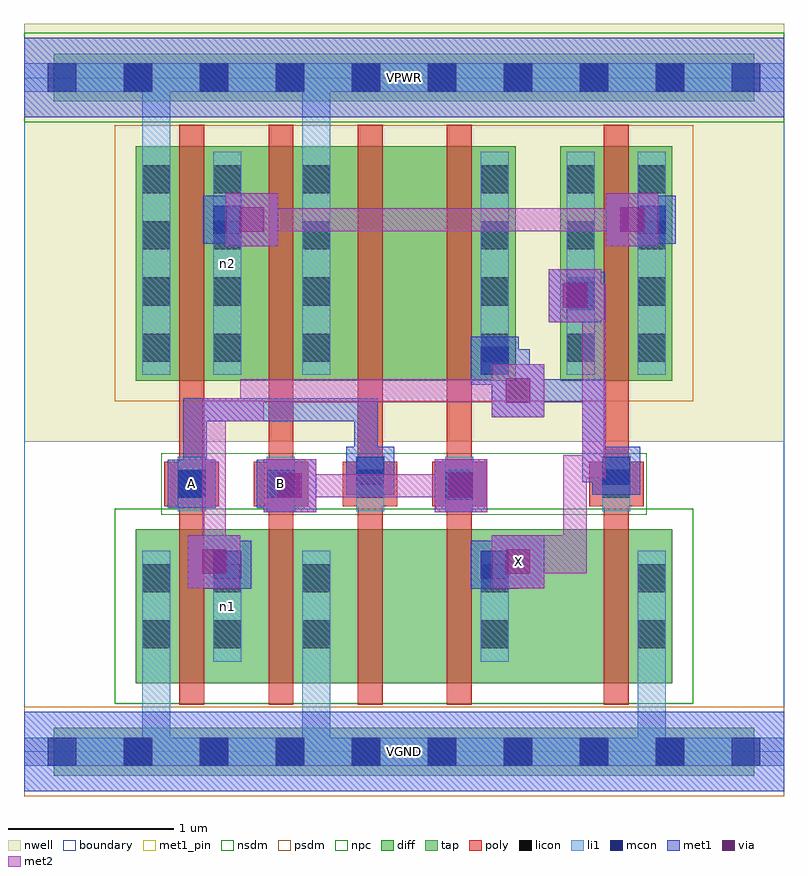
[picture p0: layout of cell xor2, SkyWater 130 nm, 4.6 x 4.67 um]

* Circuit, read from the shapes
.subckt xor2 A B VGND VPWR X n1 n2
XM1 n1 A VGND VGND sky130_fd_pr__nfet_01v8 w=0.93 l=0.15
XM2 VGND B n1 VGND sky130_fd_pr__nfet_01v8 w=0.93 l=0.15
XM3 n3 A VGND VGND sky130_fd_pr__nfet_01v8 w=0.93 l=0.15
XM4 X B n3 VGND sky130_fd_pr__nfet_01v8 w=0.93 l=0.15
XM5 VGND n1 X VGND sky130_fd_pr__nfet_01v8 w=0.93 l=0.15
XM6 n2 A VPWR VPWR sky130_fd_pr__pfet_01v8 w=1.42 l=0.15
XM7 VPWR B n2 VPWR sky130_fd_pr__pfet_01v8 w=1.42 l=0.15
XM8 n4 A VPWR VPWR sky130_fd_pr__pfet_01v8 w=1.42 l=0.15
XM9 n1 B n4 VPWR sky130_fd_pr__pfet_01v8 w=1.42 l=0.15
XM10 n2 n1 X VPWR sky130_fd_pr__pfet_01v8 w=1.42 l=0.15
.ends

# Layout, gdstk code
import gdstk
lib = gdstk.Library(unit=1e-6, precision=1e-09)
def R(c, l, rs):  # rectangles x0, y0, x1, y1
    for r in rs: c.add(gdstk.rectangle(r[:2], r[2:], *l))
def A(c, l, x, y, w, h, nx, ny, dx, dy):  # array of equal rectangles
    R(c, l, [(x+i*dx, y+j*dy, x+i*dx+w, y+j*dy+h) for i in range(nx) for j in range(ny)])
nwell = (64, 20)
diff = (65, 20)
tap = (65, 44)
poly = (66, 20)
licon = (66, 44)
li1 = (67, 20)
mcon = (67, 44)
met1_pin = (68, 16)
met1 = (68, 20)
via = (68, 44)
met2 = (69, 20)
nsdm = (93, 44)
psdm = (94, 20)
npc = (95, 20)
boundary = (235, 4)

xor2 = lib.new_cell('xor2')
R(xor2, nwell, [(0,1.875,4.6,4.405)])
R(xor2, diff, [(0.675,0.415,3.925,1.345), (0.675,2.245,2.975,3.665), (3.245,2.245,3.925,3.665)])
R(xor2, tap, [(0.18,-0.145,4.42,0.145), (0.18,3.935,4.42,4.225)])
A(xor2, poly, 0.94, 0.285, 0.15, 3.51, 4, 1, 0.54, 0)
A(xor2, poly, 0.85, 1.485, 0.33, 0.27, 4, 1, 0.54, 0)
R(xor2, poly, [(3.51,0.285,3.66,3.795), (3.42,1.485,3.75,1.755)])
A(xor2, licon, 0.605, -0.085, 0.17, 0.17, 8, 2, 0.46, 4.08)
A(xor2, licon, 0.93, 1.535, 0.17, 0.17, 4, 1, 0.54, 0)
A(xor2, licon, 0.715, 2.36, 0.17, 0.17, 1, 4, 0, 0.34)
A(xor2, licon, 1.145, 2.36, 0.17, 0.17, 1, 4, 0, 0.34)
A(xor2, licon, 1.685, 2.36, 0.17, 0.17, 1, 4, 0, 0.34)
A(xor2, licon, 2.765, 2.36, 0.17, 0.17, 1, 4, 0, 0.34)
A(xor2, licon, 3.285, 2.36, 0.17, 0.17, 1, 4, 0, 0.34)
A(xor2, licon, 3.715, 2.36, 0.17, 0.17, 1, 4, 0, 0.34)
R(xor2, licon, [(0.715,0.625,0.885,0.795), (1.145,0.625,1.315,0.795), (1.685,0.625,1.855,0.795), (2.765,0.625,2.935,0.795), (3.715,0.625,3.885,0.795), (0.715,0.965,0.885,1.135), (1.145,0.965,1.315,1.135), (1.685,0.965,1.855,1.135), (2.765,0.965,2.935,1.135), (3.715,0.965,3.885,1.135), (3.5,1.535,3.67,1.705)])
A(xor2, li1, 0.93, 1.455, 0.17, 0.33, 4, 1, 0.54, 0)
R(xor2, li1, [(0,-0.085,4.6,0.085), (0.715,-0.085,0.885,1.215), (1.685,-0.085,1.855,1.215), (3.715,-0.085,3.885,1.215), (0.715,0.545,0.885,1.215), (1.145,0.545,1.315,1.215), (1.685,0.545,1.855,1.215), (2.765,0.545,2.935,1.215), (3.715,0.545,3.885,1.215), (3.5,1.455,3.67,1.785), (0.715,2.28,0.885,3.63), (0.715,2.28,0.885,4.165), (1.145,2.28,1.315,3.63), (1.685,2.28,1.855,3.63), (1.685,2.28,1.855,4.165), (2.765,2.28,2.935,3.63), (3.285,2.28,3.455,3.63), (3.715,2.28,3.885,3.63), (0,3.995,4.6,4.165)])
A(xor2, mcon, 0.145, -0.085, 0.17, 0.17, 10, 2, 0.46, 4.08)
R(xor2, mcon, [(1.145,1.045,1.315,1.215), (2.765,1.045,2.935,1.215), (2.55,1.525,2.72,1.695), (0.93,1.535,1.1,1.705), (1.47,1.535,1.64,1.705), (2.01,1.615,2.18,1.785), (3.5,1.615,3.67,1.785), (2.765,2.28,2.935,2.45), (3.285,2.675,3.455,2.845), (1.145,3.135,1.315,3.305), (3.715,3.135,3.885,3.305)])
R(xor2, met1_pin, [(0,-0.24,4.6,0.24), (2.83,0.99,3.15,1.31), (0.87,1.475,1.16,1.765), (1.41,1.475,1.7,1.765), (0,3.84,4.6,4.32)])
R(xor2, met1, [(0,-0.24,4.6,0.24), (1.085,0.985,1.375,1.275), (2.705,0.985,2.995,1.275), (0.99,0.99,1.31,1.31), (2.83,0.99,3.15,1.31), (1.08,1.06,1.3,1.2), (1.08,1.06,1.22,1.22), (2.78,1.06,3.06,1.2), (2.92,1.06,3.06,1.22), (1.45,1.45,1.77,1.77), (2.485,1.45,2.805,1.77), (2.49,1.465,2.78,1.755), (0.87,1.475,1.16,1.765), (1.41,1.475,1.7,1.765), (0.965,1.54,1.105,1.68), (0.965,1.54,1.105,2.14), (1.54,1.54,1.68,1.68), (2.565,1.54,2.715,1.68), (1.95,1.555,2.24,1.845), (3.44,1.555,3.73,1.845), (2,1.63,2.14,1.91), (2,1.63,2.165,1.77), (3.38,1.63,3.655,1.77), (3.38,1.63,3.52,1.91), (2,1.77,2.14,2.14), (3.38,1.77,3.52,2.255), (0.965,2,2.14,2.14), (2.83,2.025,3.15,2.345), (2.92,2.115,3.06,2.435), (2.92,2.115,3.52,2.255), (2.705,2.22,2.995,2.51), (2.78,2.295,3.06,2.435), (3.175,2.6,3.495,2.92), (3.225,2.615,3.515,2.905), (3.265,2.69,3.44,2.83), (1.22,3.06,1.54,3.38), (3.52,3.06,3.84,3.38), (1.085,3.075,1.375,3.365), (3.655,3.075,3.945,3.365), (1.16,3.15,1.45,3.29), (3.61,3.15,3.87,3.29), (0,3.84,4.6,4.32)])
R(xor2, via, [(1.075,1.075,1.225,1.225), (2.915,1.075,3.065,1.225), (1.535,1.535,1.685,1.685), (2.57,1.535,2.72,1.685), (2.915,2.11,3.065,2.26), (3.26,2.685,3.41,2.835), (1.305,3.145,1.455,3.295), (3.605,3.145,3.755,3.295)])
R(xor2, met2, [(0.99,0.99,1.31,1.31), (2.83,0.99,3.15,1.31), (1.08,1.08,1.22,2.14), (2.92,1.08,3.405,1.22), (3.15,1.08,3.265,1.31), (3.265,1.08,3.405,1.795), (1.45,1.45,1.77,1.77), (2.485,1.45,2.805,1.77), (1.54,1.54,2.715,1.68), (3.265,1.655,3.52,1.795), (3.38,1.655,3.52,2.83), (1.08,2,1.45,2.14), (1.31,2,1.45,2.255), (2.83,2.025,3.15,2.345), (1.31,2.115,3.06,2.255), (3.175,2.6,3.495,2.92), (3.265,2.69,3.52,2.83), (1.22,3.06,1.54,3.38), (3.52,3.06,3.84,3.38), (1.31,3.15,3.75,3.29)])
R(xor2, nsdm, [(0.55,0.29,4.05,1.47), (0,3.81,4.6,4.35)])
R(xor2, psdm, [(0,-0.27,4.6,0.27), (0.55,2.12,4.05,3.79)])
R(xor2, npc, [(0.83,1.435,3.77,1.805)])
R(xor2, boundary, [(0,0,4.6,4.08)])
xor2.add(gdstk.Label('n1', (1.23,0.88), layer=67, texttype=5))
xor2.add(gdstk.Label('n2', (1.23,2.955), layer=67, texttype=5))
xor2.add(gdstk.Label('A', (1.015,1.62), layer=68, texttype=5))
xor2.add(gdstk.Label('B', (1.555,1.62), layer=68, texttype=5))
xor2.add(gdstk.Label('X', (2.99,1.15), layer=68, texttype=5))
xor2.add(gdstk.Label('VPWR', (2.3,4.08), layer=68, texttype=5))
xor2.add(gdstk.Label('VGND', (2.3,0), layer=68, texttype=5))
xor2.add(gdstk.Label('A', (1.015,1.62), layer=68, texttype=16))
xor2.add(gdstk.Label('B', (1.555,1.62), layer=68, texttype=16))
xor2.add(gdstk.Label('X', (2.99,1.15), layer=68, texttype=16))
xor2.add(gdstk.Label('VPWR', (2.3,4.08), layer=68, texttype=16))
xor2.add(gdstk.Label('VGND', (2.3,0), layer=68, texttype=16))

lib.write_gds('xor2.gds')
